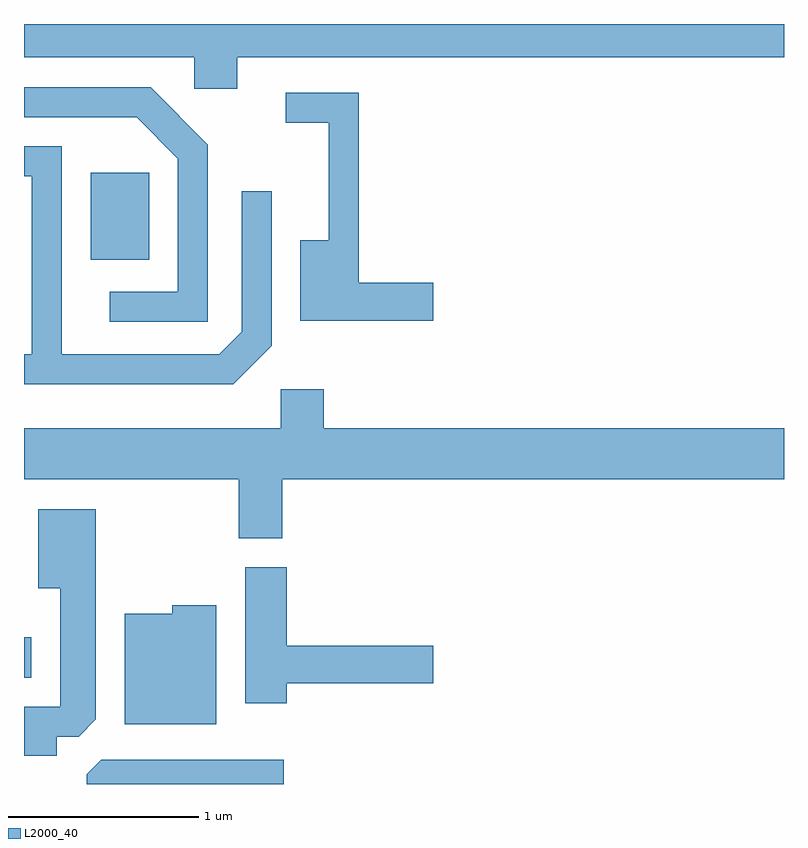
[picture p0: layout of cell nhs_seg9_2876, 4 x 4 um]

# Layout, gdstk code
import gdstk
lib = gdstk.Library(unit=1e-6, precision=1e-09)
def R(c, l, rs):  # rectangles x0, y0, x1, y1
    for r in rs: c.add(gdstk.rectangle(r[:2], r[2:], *l))
def P(c, l, *ps):  # polygons
    for p in ps: c.add(gdstk.Polygon(p, *l))
L2000_40 = (2000, 40)

nhs_seg9_2876 = lib.new_cell('nhs_seg9_2876')
R(nhs_seg9_2876, L2000_40, [(269.611,1992.991,269.649,1993.204), (269.961,1995.191,270.269,1995.649)])
P(nhs_seg9_2876, L2000_40, [(270.734,1996.256),(273.611,1996.256),(273.611,1996.432),(269.611,1996.432),(269.611,1996.256),(270.506,1996.256),(270.506,1996.091),(270.734,1996.091)],
  [(270.579,1995.797),(270.277,1996.099),(269.611,1996.099),(269.611,1995.941),(270.204,1995.941),(270.421,1995.724),(270.421,1995.024),(270.063,1995.024),(270.063,1994.866),(270.579,1994.866)],
  [(271.764,1995.069),(271.374,1995.069),(271.374,1996.069),(270.988,1996.069),(270.988,1995.911),(271.216,1995.911),(271.216,1995.294),(271.066,1995.294),(271.066,1994.871),(271.764,1994.871)],
  [(270.914,1994.739),(270.914,1995.553),(270.756,1995.553),(270.756,1994.812),(270.639,1994.694),(269.809,1994.694),(269.809,1995.789),(269.611,1995.789),(269.611,1995.631),(269.651,1995.631),(269.651,1994.694),(269.611,1994.694),(269.611,1994.536),(270.712,1994.536)],
  [(270.969,1994.036),(273.611,1994.036),(273.611,1994.304),(271.189,1994.304),(271.189,1994.509),(270.961,1994.509),(270.961,1994.304),(269.611,1994.304),(269.611,1994.036),(270.741,1994.036),(270.741,1993.726),(270.969,1993.726)],
  [(269.784,1992.681),(269.899,1992.681),(269.989,1992.772),(269.989,1993.879),(269.686,1993.879),(269.686,1993.461),(269.801,1993.461),(269.801,1992.839),(269.611,1992.839),(269.611,1992.581),(269.784,1992.581)],
  [(270.994,1992.961),(271.764,1992.961),(271.764,1993.159),(270.994,1993.159),(270.994,1993.574),(270.776,1993.574),(270.776,1992.856),(270.994,1992.856)],
  [(270.624,1993.374),(270.391,1993.374),(270.391,1993.329),(270.141,1993.329),(270.141,1992.746),(270.624,1992.746)],
  [(270.978,1992.559),(270.017,1992.559),(269.941,1992.484),(269.941,1992.432),(270.978,1992.432)])

lib.write_gds('nhs_seg9_2876.gds')
